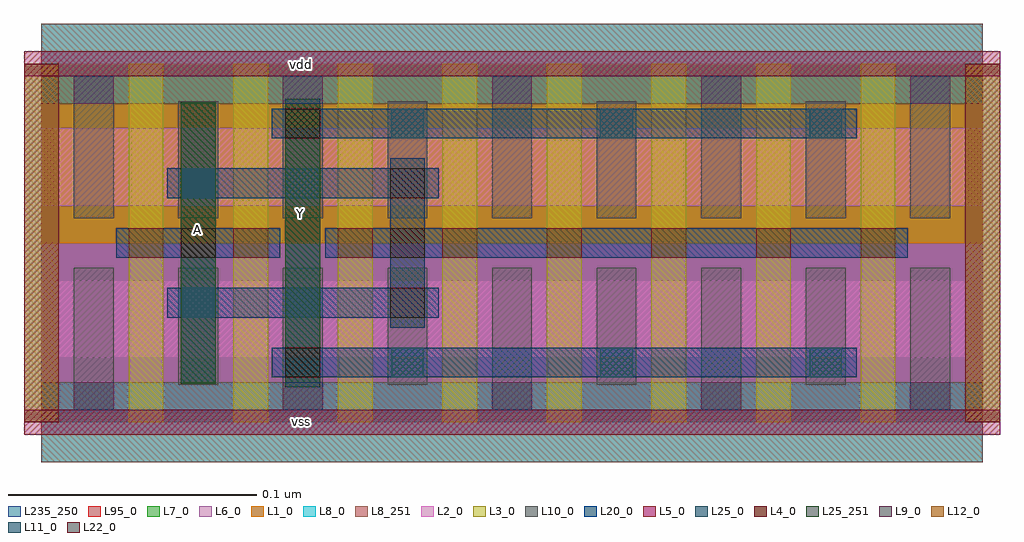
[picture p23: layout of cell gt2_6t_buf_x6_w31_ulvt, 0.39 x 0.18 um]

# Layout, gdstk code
import gdstk
lib = gdstk.Library(unit=1e-6, precision=1e-10)
def R(c, l, rs):  # rectangles x0, y0, x1, y1
    for r in rs: c.add(gdstk.rectangle(r[:2], r[2:], *l))
def A(c, l, x, y, w, h, nx, ny, dx, dy):  # array of equal rectangles
    R(c, l, [(x+i*dx, y+j*dy, x+i*dx+w, y+j*dy+h) for i in range(nx) for j in range(ny)])
L1_0 = (1, 0)
L2_0 = (2, 0)
L3_0 = (3, 0)
L4_0 = (4, 0)
L5_0 = (5, 0)
L6_0 = (6, 0)
L7_0 = (7, 0)
L8_0 = (8, 0)
L8_251 = (8, 251)
L9_0 = (9, 0)
L10_0 = (10, 0)
L11_0 = (11, 0)
L12_0 = (12, 0)
L20_0 = (20, 0)
L22_0 = (22, 0)
L25_0 = (25, 0)
L25_251 = (25, 251)
L95_0 = (95, 0)
L235_250 = (235, 250)

gt2_6t_buf_x6_w31_ulvt = lib.new_cell('gt2_6t_buf_x6_w31_ulvt')
R(gt2_6t_buf_x6_w31_ulvt, L1_0, [(0,0.072,0.378,0.144)])
R(gt2_6t_buf_x6_w31_ulvt, L2_0, [(0,0.026,0.378,0.057), (0,0.087,0.378,0.118)])
A(gt2_6t_buf_x6_w31_ulvt, L3_0, -0.007, 0, 0.014, 0.144, 9, 1, 0.042, 0)
R(gt2_6t_buf_x6_w31_ulvt, L3_0, [(0.329,0,0.343,0.144), (0.371,0,0.385,0.144)])
R(gt2_6t_buf_x6_w31_ulvt, L4_0, [(-0.007,0,0.007,0.144), (0.371,0,0.385,0.144)])
R(gt2_6t_buf_x6_w31_ulvt, L5_0, [(-0.007,-0.005,0.385,0.005), (-0.007,0.139,0.385,0.149)])
R(gt2_6t_buf_x6_w31_ulvt, L6_0, [(0,0,0.378,0.072)])
R(gt2_6t_buf_x6_w31_ulvt, L7_0, [(0,0.072,0.378,0.144)])
R(gt2_6t_buf_x6_w31_ulvt, L8_0, [(0,-0.016,0.378,0.016), (0,0.128,0.378,0.16)])
R(gt2_6t_buf_x6_w31_ulvt, L8_251, [(0,-0.016,0.378,0.016), (0,0.128,0.378,0.16)])
A(gt2_6t_buf_x6_w31_ulvt, L9_0, 0.013, 0.005, 0.016, 0.011, 5, 2, 0.084, 0.123)
A(gt2_6t_buf_x6_w31_ulvt, L10_0, 0.013, 0.005, 0.016, 0.057, 5, 2, 0.084, 0.077)
A(gt2_6t_buf_x6_w31_ulvt, L10_0, 0.055, 0.015, 0.016, 0.047, 4, 2, 0.084, 0.067)
A(gt2_6t_buf_x6_w31_ulvt, L11_0, 0.1405, 0.018, 0.013, 0.012, 3, 2, 0.084, 0.096)
R(gt2_6t_buf_x6_w31_ulvt, L11_0, [(0.0565,0.042,0.0695,0.054), (0.0565,0.09,0.0695,0.102)])
A(gt2_6t_buf_x6_w31_ulvt, L12_0, 0.035, 0.066, 0.014, 0.012, 8, 1, 0.042, 0)
R(gt2_6t_buf_x6_w31_ulvt, L20_0, [(0.0925,0.018,0.3275,0.03), (0.0505,0.042,0.1595,0.054), (0.03,0.066,0.096,0.078), (0.114,0.066,0.348,0.078), (0.0505,0.09,0.1595,0.102), (0.0925,0.114,0.3275,0.126)])
A(gt2_6t_buf_x6_w31_ulvt, L22_0, 0.14, 0.042, 0.014, 0.012, 1, 3, 0, 0.024)
R(gt2_6t_buf_x6_w31_ulvt, L22_0, [(0.098,0.018,0.112,0.03), (0.056,0.066,0.07,0.078), (0.098,0.114,0.112,0.126)])
R(gt2_6t_buf_x6_w31_ulvt, L25_0, [(0.098,0.014,0.112,0.13), (0.056,0.0155,0.07,0.1285), (0.14,0.038,0.154,0.106)])
R(gt2_6t_buf_x6_w31_ulvt, L25_251, [(0.098,0.014,0.112,0.13), (0.056,0.0155,0.07,0.1285)])
R(gt2_6t_buf_x6_w31_ulvt, L95_0, [(0,0,0.378,0.144)])
R(gt2_6t_buf_x6_w31_ulvt, L235_250, [(0,0,0.378,0.144)])
gt2_6t_buf_x6_w31_ulvt.add(gdstk.Label('vdd', (0.1045,0.1435), layer=8, texttype=251))
gt2_6t_buf_x6_w31_ulvt.add(gdstk.Label('vss', (0.1045,0.0005), layer=8, texttype=251))
gt2_6t_buf_x6_w31_ulvt.add(gdstk.Label('Y', (0.104,0.084), layer=25, texttype=251))
gt2_6t_buf_x6_w31_ulvt.add(gdstk.Label('A', (0.0625,0.0775), layer=25, texttype=251))

lib.write_gds('gt2_6t_buf_x6_w31_ulvt.gds')
